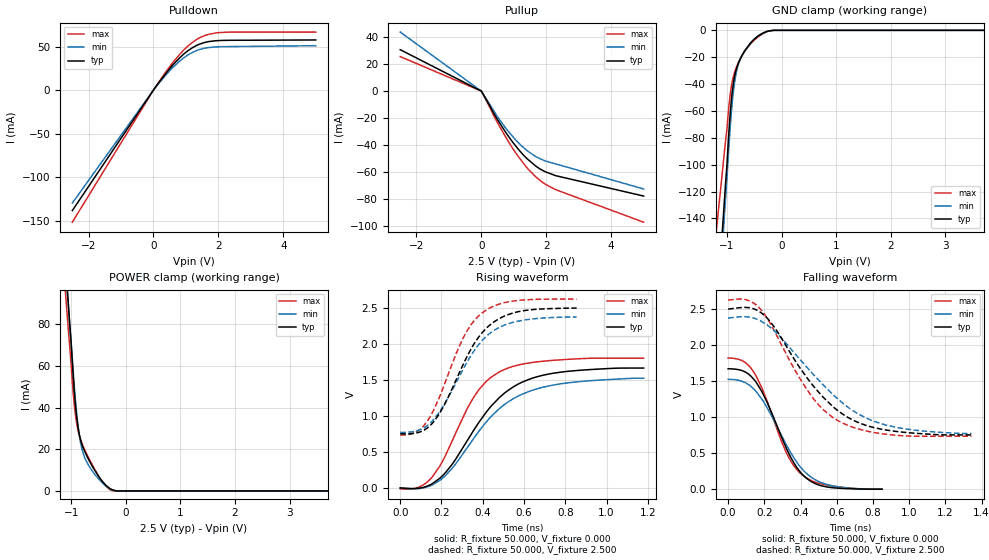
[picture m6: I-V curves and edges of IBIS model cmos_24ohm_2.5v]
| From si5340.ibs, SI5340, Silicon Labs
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[Model]   cmos_24ohm_2.5v
Model_type 3-state
Vref=0.000E+00
Rref=1.000E+06
Cref=5.000E-12
Vmeas=1.250E+00
C_comp   1.210E-12   1.190E-12   1.240E-12
[Voltage Range]   2.500E+00   2.375E+00   2.625E+00
[POWER Clamp Reference]   2.500E+00   2.375E+00   2.625E+00
[GND Clamp Reference]   0.000E+00   0.000E+00   0.000E+00
[Pullup Reference]   2.500E+00   2.375E+00   2.625E+00
[Pulldown Reference]   0.000E+00   0.000E+00   0.000E+00
[Temperature Range]   25   85   -40
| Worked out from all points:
|   slope of the pulldown table from 0 to 0.375 V, typ, clamps not added: 20.1 ohm
|   slope of the pullup table from 0 to 0.375 V, typ, clamps not added: 23.1 ohm
|   GND clamp passes 1 mA (typ) near -0.28 V on its own axis
|   POWER clamp passes 1 mA (typ) near -0.28 V on its own axis
|   rising waveform, R_fixture 50.000, V_fixture 0.000: 20-80 % time 259ps typ, 276ps min, 203ps max; typ from 0.001 V to 1.67 V
|   falling waveform, R_fixture 50.000, V_fixture 0.000: 20-80 % time 181ps typ, 206ps min, 176ps max; typ from 1.67 V to 0 V
|   rising waveform, R_fixture 50.000, V_fixture 2.500: 20-80 % time 191ps typ, 200ps min, 171ps max; typ from 0.753 V to 2.5 V
|   falling waveform, R_fixture 50.000, V_fixture 2.500: 20-80 % time 319ps typ, 379ps min, 277ps max; typ from 2.5 V to 0.753 V
[GND Clamp]
-2.5V     -1.004A    -1.029A    -669.1mA
-1.02V    -111.1mA   -122.2mA   -80.25mA
-1V       -100.6mA   -110.9mA   -73.72mA
-960mV    -73.19mA   -84.48mA   -54.89mA
-920mV    -52.42mA   -61.97mA   -41.94mA
-880mV    -38.91mA   -45.15mA   -34.02mA
-820mV    -27.85mA   -29.84mA   -26.9mA
-760mV    -21.66mA   -21.76mA   -21.63mA
-660mV    -14.57mA   -14.32mA   -14.74mA
-320mV    -1.652mA   -1.73mA    -2.051mA
-140mV    0A         0A         0A
5V        0A         0A         0A
[Power Clamp]
-2.5V     641.2mA    591.2mA    564.7mA
-1.04V    86.06mA    85.16mA    74.01mA
-1V       71.54mA    71.48mA    60.74mA
-960mV    54.84mA    57.08mA    46.56mA
-920mV    41.27mA    43.42mA    36.37mA
-860mV    28.56mA    28.72mA    27.65mA
-800mV    22.18mA    20.02mA    22.85mA
-740mV    18.35mA    15.32mA    19.13mA
-620mV    12.24mA    9.854mA    12.95mA
-420mV    4.361mA    3.697mA    4.102mA
-280mV    970.1uA    871.4uA    486.9uA
5V        0A         0A         0A
[Pullup]
-2.5V     30.82mA    43.91mA    25.68mA
0V        0A         9.978uA    20.14uA
520mV     -22.08mA   -19.93mA   -24.52mA
720mV     -29.63mA   -26.63mA   -32.95mA
960mV     -37.84mA   -33.6mA    -42.42mA
1.14V     -43.3mA    -38.44mA   -48.64mA
1.32V     -48.21mA   -42.5mA    -54.41mA
1.46V     -51.35mA   -45.22mA   -58.52mA
1.66V     -55.43mA   -48.44mA   -63.4mA
1.98V     -60.08mA   -52.02mA   -69.44mA
2.3V      -62.95mA   -54.23mA   -73.4mA
5V        -78.06mA   -72.79mA   -97.5mA
[Pulldown]
-2.5V     -138.6mA   -129.9mA   -151.9mA
60mV      3.155mA    2.896mA    3.429mA
600mV     29mA       26.08mA    31.88mA
940mV     41.63mA    37.25mA    46.3mA
1.18V     48.19mA    42.89mA    54.2mA
1.52V     54.07mA    47.68mA    61.84mA
1.94V     56.75mA    49.67mA    65.78mA
2.34V     57.23mA    50mA       66.65mA
5V        57.62mA    51mA       66.67mA
[Rising Waveform]
R_fixture = 50.000
V_fixture = 0.000
V_fixture_min = 0.000
V_fixture_max = 0.000
|  time   V(typ)   V(min)   V(max)
0s        1.004mV    0V         -13.33mV
110ps     6.867mV    -522.5uV   39.75mV
195ps     143.4mV    112.3mV    320mV
255ps     342.6mV    284.6mV    673.9mV
355ps     797mV      683.9mV    1.256V
415ps     1.047V     911.2mV    1.476V
480ps     1.255V     1.102V     1.612V
580ps     1.455V     1.289V     1.714V
710ps     1.577V     1.412V     1.766V
1.18ns    1.666V     1.526V     1.804V
[Falling Waveform]
R_fixture = 50.000
V_fixture = 0.000
V_fixture_min = 0.000
V_fixture_max = 0.000
|  time   V(typ)   V(min)   V(max)
0s        1.671V     1.526V     1.821V
85ps      1.638V     1.49V      1.774V
145ps     1.516V     1.382V     1.613V
215ps     1.207V     1.132V     1.221V
320ps     577.4mV    623mV      515.6mV
360ps     378mV      446.4mV    336mV
405ps     218.9mV    290.3mV    207.6mV
465ps     97.29mV    155.3mV    114.1mV
550ps     29.02mV    62.32mV    53.96mV
850ps     0V         0V         0V
[Rising Waveform]
R_fixture = 50.000
V_fixture = 2.500
V_fixture_min = 2.375
V_fixture_max = 2.625
|  time   V(typ)   V(min)   V(max)
0s        753.5mV    772.3mV    735.6mV
95ps      777.3mV    807.8mV    812.9mV
160ps     912.9mV    945.4mV    1.071V
215ps     1.161V     1.17V      1.445V
305ps     1.716V     1.651V     2.084V
350ps     1.966V     1.872V     2.296V
395ps     2.151V     2.043V     2.428V
470ps     2.337V     2.216V     2.546V
555ps     2.438V     2.308V     2.601V
855ps     2.5V       2.375V     2.625V
[Falling Waveform]
R_fixture = 50.000
V_fixture = 2.500
V_fixture_min = 2.375
V_fixture_max = 2.625
|  time   V(typ)   V(min)   V(max)
0s        2.5V       2.375V     2.625V
120ps     2.518V     2.388V     2.612V
200ps     2.413V     2.306V     2.431V
255ps     2.25V      2.197V     2.197V
445ps     1.514V     1.665V     1.347V
525ps     1.277V     1.448V     1.104V
610ps     1.082V     1.242V     946.6mV
730ps     914.2mV    1.029V     829.1mV
880ps     818.2mV    885.3mV    759.9mV
1.345ns   753.5mV    772.3mV    735.6mV
[Ramp]
dV/dt_r   9.9924E-01/2.5908E-10   9.0971E-01/2.7546E-10   1.0903E+00/2.0225E-10
dV/dt_f   1.0479E+00/3.1824E-10   9.6163E-01/3.7807E-10   1.1336E+00/2.7653E-10
R_load = 50
